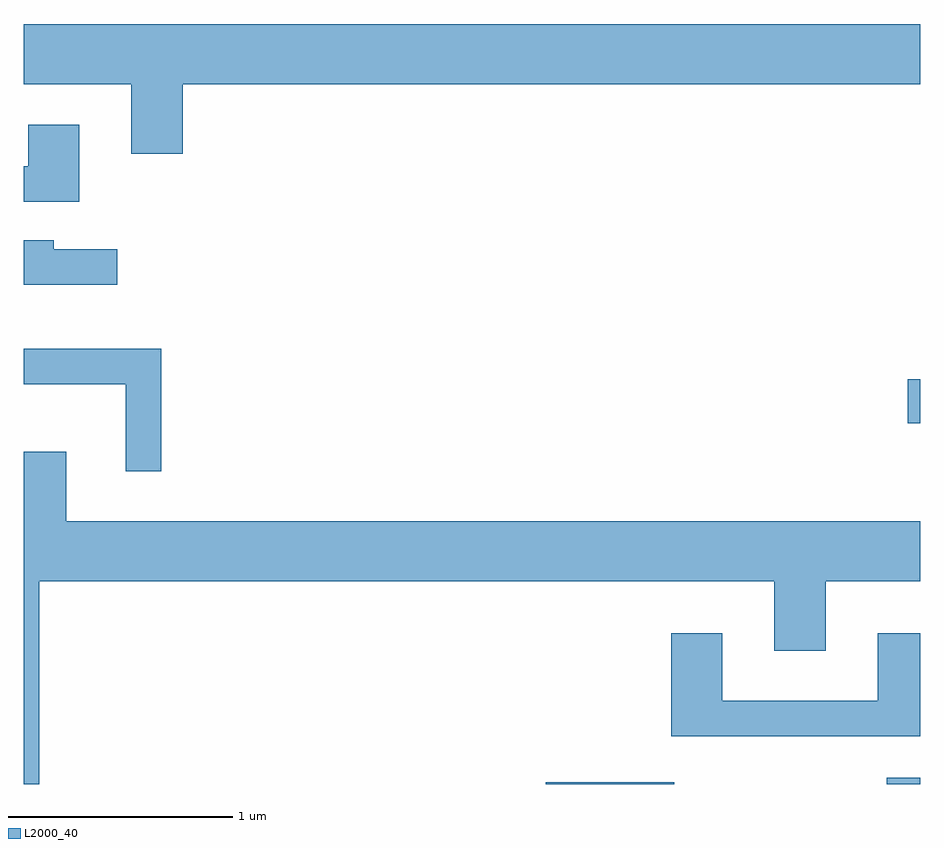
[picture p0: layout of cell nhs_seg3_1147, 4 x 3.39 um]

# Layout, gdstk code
import gdstk
lib = gdstk.Library(unit=1e-6, precision=1e-09)
def R(c, l, rs):  # rectangles x0, y0, x1, y1
    for r in rs: c.add(gdstk.rectangle(r[:2], r[2:], *l))
def P(c, l, *ps):  # polygons
    for p in ps: c.add(gdstk.Polygon(p, *l))
L2000_40 = (2000, 40)

nhs_seg3_1147 = lib.new_cell('nhs_seg3_1147')
R(nhs_seg3_1147, L2000_40, [(219.941,1233.892,220.514,1233.899), (221.461,1233.892,221.611,1233.919), (221.556,1235.501,221.611,1235.699)])
P(nhs_seg3_1147, L2000_40, [(218.319,1237.016),(221.611,1237.016),(221.611,1237.284),(217.611,1237.284),(217.611,1237.016),(218.091,1237.016),(218.091,1236.706),(218.319,1236.706)],
  [(217.859,1236.834),(217.631,1236.834),(217.631,1236.649),(217.611,1236.649),(217.611,1236.491),(217.859,1236.491)],
  [(218.028,1236.279),(217.744,1236.279),(217.744,1236.319),(217.611,1236.319),(217.611,1236.121),(218.028,1236.121)],
  [(218.224,1235.834),(217.611,1235.834),(217.611,1235.676),(218.066,1235.676),(218.066,1235.288),(218.224,1235.288)],
  [(217.679,1234.796),(220.961,1234.796),(220.961,1234.486),(221.189,1234.486),(221.189,1234.796),(221.611,1234.796),(221.611,1235.064),(217.799,1235.064),(217.799,1235.374),(217.611,1235.374),(217.611,1233.892),(217.679,1233.892)],
  [(221.611,1234.564),(221.421,1234.564),(221.421,1234.264),(220.729,1234.264),(220.729,1234.564),(220.501,1234.564),(220.501,1234.106),(221.611,1234.106)])

lib.write_gds('nhs_seg3_1147.gds')
